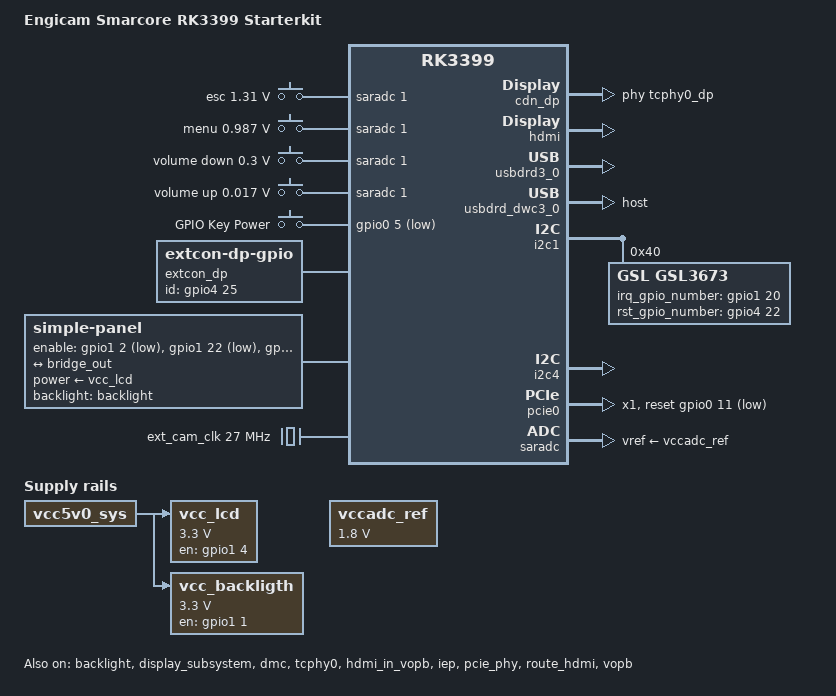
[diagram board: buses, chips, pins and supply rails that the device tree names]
/*
 * Copyright (c) 2020 Engicam srl
 *
 * based on:
 * Copyright (c) 2019 Fuzhou Rockchip Electronics Co., Ltd
 *
 * This file is dual-licensed: you can use it either under the terms
 * of the GPL or the X11 license, at your option. Note that this dual
 * licensing only applies to this file, and not this project as a
 * whole.
 *
 *  a) This file is free software; you can redistribute it and/or
 *     modify it under the terms of the GNU General Public License as
 *     published by the Free Software Foundation; either version 2 of the
 *     License, or (at your option) any later version.
 *
 *     This file is distributed in the hope that it will be useful,
 *     but WITHOUT ANY WARRANTY; without even the implied warranty of
 *     MERCHANTABILITY or FITNESS FOR A PARTICULAR PURPOSE.  See the
 *     GNU General Public License for more details.
 *
 * Or, alternatively,
 *
 *  b) Permission is hereby granted, free of charge, to any person
 *     obtaining a copy of this software and associated documentation
 *     files (the "Software"), to deal in the Software without
 *     restriction, including without limitation the rights to use,
 *     copy, modify, merge, publish, distribute, sublicense, and/or
 *     sell copies of the Software, and to permit persons to whom the
 *     Software is furnished to do so, subject to the following
 *     conditions:
 *
 *     The above copyright notice and this permission notice shall be
 *     included in all copies or substantial portions of the Software.
 *
 *     THE SOFTWARE IS PROVIDED "AS IS", WITHOUT WARRANTY OF ANY KIND,
 *     EXPRESS OR IMPLIED, INCLUDING BUT NOT LIMITED TO THE WARRANTIES
 *     OF MERCHANTABILITY, FITNESS FOR A PARTICULAR PURPOSE AND
 *     NONINFRINGEMENT. IN NO EVENT SHALL THE AUTHORS OR COPYRIGHT
 *     HOLDERS BE LIABLE FOR ANY CLAIM, DAMAGES OR OTHER LIABILITY,
 *     WHETHER IN AN ACTION OF CONTRACT, TORT OR OTHERWISE, ARISING
 *     FROM, OUT OF OR IN CONNECTION WITH THE SOFTWARE OR THE USE OR
 *     OTHER DEALINGS IN THE SOFTWARE.
 */

/dts-v1/;

#include "smarcore-rk3399.dtsi"
#include "smarcore-rk3399-linux.dtsi"
#include <dt-bindings/input/input.h>

/ {
	model = "Engicam Smarcore RK3399 Starterkit";
	compatible = "engicam,smarcore-rk3399-linux", "rockchip,rk3399";

	vcc_lcd: vcc-lcd {
		compatible = "regulator-fixed";
		regulator-name = "vcc_lcd";
		gpio = <&gpio1 4 GPIO_ACTIVE_HIGH>;
		startup-delay-us = <20000>;
		enable-active-high;
		regulator-min-microvolt = <3300000>;
		regulator-max-microvolt = <3300000>;
		regulator-boot-on;
		vin-supply = <&vcc5v0_sys>;
	};

	vcc_backligth: vcc-backligth {
		compatible = "regulator-fixed";
		regulator-name = "vcc_backligth";
		gpio = <&gpio1 1 GPIO_ACTIVE_HIGH>;
		startup-delay-us = <20000>;
		enable-active-high;
		regulator-min-microvolt = <3300000>;
		regulator-max-microvolt = <3300000>;
		regulator-boot-on;
		vin-supply = <&vcc5v0_sys>;
	};

	vccadc_ref: vccadc-ref {
		compatible = "regulator-fixed";
		regulator-name = "vcc1v8_sys";
		regulator-always-on;
		regulator-boot-on;
		regulator-min-microvolt = <1800000>;
		regulator-max-microvolt = <1800000>;
	};

	adc_keys: adc-keys {
		compatible = "adc-keys";
		io-channels = <&saradc 1>;
		io-channel-names = "buttons";
		poll-interval = <100>;
		keyup-threshold-microvolt = <1800000>;

		esc-key {
			linux,code = <KEY_ESC>;
			label = "esc";
			press-threshold-microvolt = <1310000>;
		};

		menu-key {
			linux,code = <KEY_MENU>;
			label = "menu";
			press-threshold-microvolt = <987000>;
		};

		vol-down-key {
			linux,code = <KEY_VOLUMEDOWN>;
			label = "volume down";
			press-threshold-microvolt = <300000>;
		};

		vol-up-key {
			linux,code = <KEY_VOLUMEUP>;
			label = "volume up";
			press-threshold-microvolt = <17000>;
		};
	};

	gpio_keys: gpio-keys {
		compatible = "gpio-keys";
		#address-cells = <1>;
		#size-cells = <0>;
		autorepeat;

		pinctrl-names = "default";
		pinctrl-0 = <&pwrbtn>;

		button@0 {
			gpios = <&gpio0 5 GPIO_ACTIVE_LOW>;
			linux,code = <KEY_POWER>;
			label = "GPIO Key Power";
			linux,input-type = <1>;
			gpio-key,wakeup = <1>;
			debounce-interval = <100>;
		};
	};

	extcon_dp:  extcon_dp {
		compatible = "linux,extcon-dp-gpio";
		pinctrl-names = "default";
		pinctrl-0 = <&dp_hotplug>;
		id-gpio = <&gpio4 25 GPIO_ACTIVE_HIGH>;
	};

	panel: panel {
		compatible = "simple-panel";
		//compatible = "auo,b101ean01";
		pinctrl-names = "default";
		pinctrl-0 = <&panel_gpios>;
		backlight = <&backlight>;
		power-supply = <&vcc_lcd>;
		enable-gpios = <&gpio1 2 GPIO_ACTIVE_LOW>, /* CFG1 */
				<&gpio1 22 GPIO_ACTIVE_LOW>, /* CFG2 */
				<&gpio1 18 GPIO_ACTIVE_LOW>, /* CFG3 */
				<&gpio1 20 GPIO_ACTIVE_LOW>; /* CFG4 */
		//prepare-delay-ms = <20>;
		//enable-delay-ms = <20>;

		display-timings {
			native-mode = <&timing0>;

			timing0: timing0 {
                                clock-frequency = <60000000>;
                                hactive = <1280>;
                                vactive = <800>;
                                hback-porch = <40>;
                                hfront-porch = <40>;
                                vback-porch = <10>;
                                vfront-porch = <3>;
                                hsync-len = <80>;
                                vsync-len = <10>;
			};
		};

		ports {
			panel_in: endpoint {
				remote-endpoint = <&bridge_out>;
			};
		};
	};

	ext_cam_clk: external-camera-clock {
		compatible = "fixed-clock";
		clock-frequency = <27000000>;
		clock-output-names = "CLK_CAMERA_27MHZ";
		#clock-cells = <0>;
	};

	/delete-node/ rt5651-sound;
/* TBD ENGICAM
	rt5651_sound: rt5651-sound {
		compatible = "rockchip,multicodecs-card";
		rockchip,card-name = "realtek,rt5651-codec";
		rockchip,codec-hp-det;
		rockchip,mclk-fs = <256>;
		rockchip,cpu = <&i2s0>;
		rockchip,codec = <&rt5651>;
		status = "okay";
	};
*/
	test_power: test-power {
		status = "okay";
	};
};

&backlight {
	status = "okay";
	power-supply = <&vcc_backligth>;
};


&display_subsystem {
	status = "okay";
};
#ifdef TBD_ENGICAM
&dmc {
	status = "okay";
	center-supply = <&vdd_center>;
	system-status-freq = <
		/*system status         freq(KHz)*/
		SYS_STATUS_NORMAL       856000
		SYS_STATUS_REBOOT       416000
		SYS_STATUS_SUSPEND      416000
		SYS_STATUS_VIDEO_1080P  416000
		SYS_STATUS_VIDEO_4K     856000
		SYS_STATUS_VIDEO_4K_10B 856000
		SYS_STATUS_PERFORMANCE  856000
		SYS_STATUS_BOOST        856000
		SYS_STATUS_DUALVIEW     856000
		SYS_STATUS_ISP          856000
	>;
	vop-bw-dmc-freq = <
	/* min_bw(MB/s) max_bw(MB/s) freq(KHz) */
		0       577      416000
		578     99999    856000
	>;
	auto-min-freq = <416000>;
	auto-freq-en = <0>;
};

&dmc_opp_table {
	compatible = "operating-points-v2";

	opp-200000000 {
		opp-hz = /bits/ 64 <200000000>;
		opp-microvolt = <900000>;
		status = "disabled";
	};
	opp-300000000 {
		opp-hz = /bits/ 64 <300000000>;
		opp-microvolt = <900000>;
		status = "disabled";
	};
	opp-400000000 {
		opp-hz = /bits/ 64 <400000000>;
		opp-microvolt = <900000>;
		status = "disabled";
	};
	opp-416000000 {
		opp-hz = /bits/ 64 <416000000>;
		opp-microvolt = <900000>;
	};
	opp-528000000 {
		opp-hz = /bits/ 64 <528000000>;
		opp-microvolt = <900000>;
		status = "disabled";
	};
	opp-600000000 {
		opp-hz = /bits/ 64 <600000000>;
		opp-microvolt = <900000>;
		status = "disabled";
	};
	opp-800000000 {
		opp-hz = /bits/ 64 <800000000>;
		opp-microvolt = <900000>;
		status = "disabled";
	};
	opp-856000000 {
		opp-hz = /bits/ 64 <856000000>;
		opp-microvolt = <900000>;
	};
	opp-928000000 {
		opp-hz = /bits/ 64 <928000000>;
		opp-microvolt = <900000>;
		status = "disabled";
	};
	opp-1056000000 {
		opp-hz = /bits/ 64 <1056000000>;
		opp-microvolt = <900000>;
		status = "disabled";
	};
};
#endif
&edp {
	status = "disabled";
	force-hpd;

	ports {
		port@1 {
			reg = <1>;

			edp_out: endpoint {
				remote-endpoint = <&bridge_in>;
			};
		};
	};
};

//&tcphy0_dp {
//	phy-supply = <&vccadc_ref>;
//	status = "okay";
//};

&tcphy0 {
	extcon = <&extcon_dp>;
	status = "okay";
};

&cdn_dp_fb {
	status = "disabled";
	extcon = <&extcon_dp>;
//	dp_vop_sel = <DISPLAY_SOURCE_LCDC1>;
//	dp_defaultmode = <10>;
};

&cdn_dp {
	phys = <&tcphy0_dp>;
	extcon = <&extcon_dp>;
	status = "okay";
};

/*
&dp_in_vopb {
	status = "disabled";
};
*/
/*
&dp_in_vopl {
	status = "okay";
};
*/
&edp_rk_fb {
	status = "disabled";
};


&hdmi {
	pinctrl-names = "default";
	pinctrl-0 = <&hdmi_i2c_xfer>;
	#address-cells = <1>;
	#size-cells = <0>;
	#sound-dai-cells = <0>;
	status = "okay";
};
/*
&hdmi_in_vopl {
	status = "disabled";
};
*/
&hdmi_in_vopb {
	status = "okay";
};

&hdmi_rk_fb {
	status = "disabled";
	rockchip,hdmi_video_source = <DISPLAY_SOURCE_LCDC1>;
};


&usbdrd3_0 {
	status = "okay";
};

&usbdrd_dwc3_0 {
	status = "okay";
	dr_mode = "host";
};

&i2c1 {
	status = "okay";

	gsl3673: gsl3673@40 {
		compatible = "GSL,GSL3673";
		reg = <0x40>;
		screen_max_x = <1536>;
		screen_max_y = <2048>;
		irq_gpio_number = <&gpio1 20 IRQ_TYPE_LEVEL_LOW>;
		rst_gpio_number = <&gpio4 22 GPIO_ACTIVE_HIGH>;
	};
};

&i2c4 {
	status = "okay";
};

&iep {
	status = "okay";
};

&iep_mmu {
	status = "okay";
};

&isp0_mmu {
	status = "disabled";
};

&isp1_mmu {
	status = "disabled";
};

&mipi_dphy_rx0 {
	status = "disabled";

	ports {
		#address-cells = <1>;
		#size-cells = <0>;

		port@0 {
			reg = <0>;
			#address-cells = <1>;
			#size-cells = <0>;

			mipi_in_ucam0: endpoint@1 {
				reg = <1>;
				//remote-endpoint = <&ucam_out0>;
				data-lanes = <1 2>;
			};
		};

		port@1 {
			reg = <1>;
			#address-cells = <1>;
			#size-cells = <0>;

			dphy_rx0_out: endpoint@0 {
				reg = <0>;
				remote-endpoint = <&isp0_mipi_in>;
			};
		};
	};
};

&mipi_dphy_tx1rx1 {
	status = "disabled";

	ports {
		#address-cells = <1>;
		#size-cells = <0>;

		port@0 {
			reg = <0>;
			#address-cells = <1>;
			#size-cells = <0>;

			mipi_in_ucam1: endpoint@1 {
				reg = <1>;
				/* Unlinked camera */
				//remote-endpoint = <&ucam_out1>;
				data-lanes = <1 2>;
			};
		};

		port@1 {
			reg = <1>;
			#address-cells = <1>;
			#size-cells = <0>;

			dphy_tx1rx1_out: endpoint@0 {
				reg = <0>;
				remote-endpoint = <&isp1_mipi_in>;
			};
		};
	};
};

&pcie_phy {
	status = "okay";
};

&pcie0 {
	/* I211 ethernet controller on the starterkit */
	ep-gpios = <&gpio2 RK_PA4 GPIO_ACTIVE_HIGH>;
	reset-gpios = <&gpio0 11 GPIO_ACTIVE_LOW>; /* GPIO0_B3 */

	num-lanes = <1>;
	pinctrl-names = "default";
	pinctrl-0 = <&pcie_clkreqn &pcie0_gpios>;
	status = "okay";
};

&rkisp1_0 {
	status = "disabled";

	port {
		#address-cells = <1>;
		#size-cells = <0>;

		isp0_mipi_in: endpoint@0 {
			reg = <0>;
			remote-endpoint = <&dphy_rx0_out>;
		};
	};
};

&rkisp1_1 {
	status = "disabled";

	port {
		#address-cells = <1>;
		#size-cells = <0>;

		isp1_mipi_in: endpoint@0 {
			reg = <0>;
			remote-endpoint = <&dphy_tx1rx1_out>;
		};
	};
};

&route_dp {
	status = "disabled";
//	connect = <&vopb_out_dp>;
};

&route_edp {
	status = "disabled";
};

&route_hdmi {
	status = "okay";
//	connect = <&vopl_out_hdmi>;
};

&saradc {
	vref-supply = <&vccadc_ref>;
};

&vopb {
	assigned-clocks = <&cru DCLK_VOP0_DIV>;
	assigned-clock-parents = <&cru PLL_CPLL>;
	status = "okay";
	rockchip,grf = <&grf>;
};

&vopb_mmu {
	status = "okay";
};

&vopl {
	assigned-clocks = <&cru DCLK_VOP0_DIV>;
	assigned-clock-parents = <&cru PLL_CPLL>;
	status = "disabled";
	rockchip,grf = <&grf>;
};

&vopl_mmu {
	status = "disabled";
};

&pinctrl {
	buttons {
		pwrbtn: pwrbtn {
			rockchip,pins = <0 5 RK_FUNC_GPIO &pcfg_pull_up>;
		};
	};

	dp {
		dp_hotplug: dp_hotplug {
			rockchip,pins =
				<4 25 RK_FUNC_GPIO &pcfg_pull_none>;
		};
	};

	pcie0 {
		pcie0_gpios: pcie0-gpios {
			rockchip,pins =
				<0 11 RK_FUNC_GPIO &pcfg_pull_up>,
				<4 26 RK_FUNC_GPIO &pcfg_pull_up>;
		};
	};

	/* testati da attaccare */
	debug {
		debug_gpios: debug-gpios {
			rockchip,pins =
				<4 21 RK_FUNC_GPIO &pcfg_output_high>; /* solo per debug GPIO8 su Multimedia */
		};
	};


	panel {
		panel_gpios: panel-gpios {
			rockchip,pins =
				<1 1 RK_FUNC_GPIO &pcfg_output_high>,
				<1 4 RK_FUNC_GPIO &pcfg_output_high>;
		};
	};

/*
	hdmiin {
		hdmiin_gpios: hdmiin-gpios {
			rockchip,pins =
				<2 5 RK_FUNC_GPIO &pcfg_output_high>,
				<2 6 RK_FUNC_GPIO &pcfg_output_high>,
				<2 7 RK_FUNC_GPIO &pcfg_pull_none>,
				<2 8 RK_FUNC_GPIO &pcfg_output_high>,
				<2 9 RK_FUNC_GPIO &pcfg_output_high>,
				<2 10 RK_FUNC_GPIO &pcfg_output_low>,
				<2 12 RK_FUNC_GPIO &pcfg_pull_none>;
		};
	};
*/
};

/* DON'T PUT ANYTHING BELOW HERE.  PUT IT ABOVE PINCTRL */
/* DON'T PUT ANYTHING BELOW HERE.  PUT IT ABOVE PINCTRL */
/* DON'T PUT ANYTHING BELOW HERE.  PUT IT ABOVE PINCTRL */
